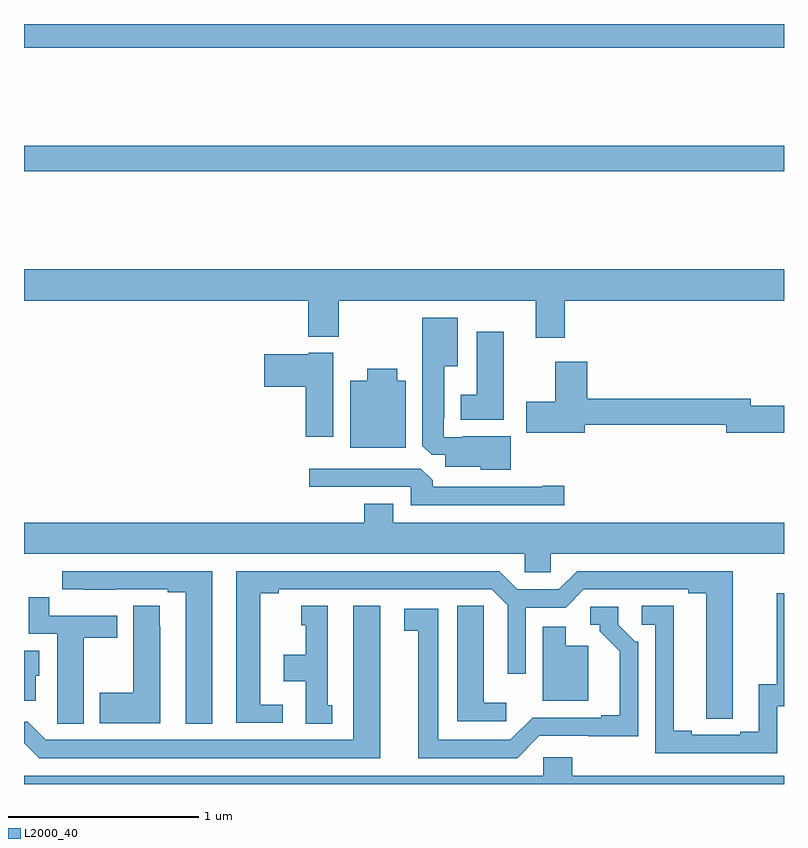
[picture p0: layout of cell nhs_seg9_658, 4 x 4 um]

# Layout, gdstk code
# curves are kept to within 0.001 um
import gdstk
lib = gdstk.Library(unit=1e-6, precision=1e-09)
def R(c, l, rs):  # rectangles x0, y0, x1, y1
    for r in rs: c.add(gdstk.rectangle(r[:2], r[2:], *l))
def P(c, l, *ps):  # polygons
    for p in ps: c.add(gdstk.Polygon(p, *l))
L2000_40 = (2000, 40)

nhs_seg9_658 = lib.new_cell('nhs_seg9_658')
R(nhs_seg9_658, L2000_40, [(143,1239.724,147,1239.86), (143,1240.376,147,1240.5)])
P(nhs_seg9_658, L2000_40, [(145.847,1239.044),(147,1239.044),(147,1239.208),(143,1239.208),(143,1239.044),(144.497,1239.044),(144.497,1238.855),(144.657,1238.855),(144.657,1239.044),(145.694,1239.044),(145.694,1238.85),(145.847,1238.85)],
  [(145.561,1238.329),(145.309,1238.329),(145.309,1238.325),(145.209,1238.325),(145.209,1238.425),(145.213,1238.425),(145.213,1238.699),(145.282,1238.699),(145.282,1238.953),(145.097,1238.953),(145.097,1238.281),(145.146,1238.232),(145.217,1238.232),(145.217,1238.171),(145.404,1238.171),(145.404,1238.153),(145.561,1238.153)],
  [(145.525,1238.881),(145.382,1238.881),(145.382,1238.548),(145.298,1238.548),(145.298,1238.417),(145.525,1238.417)],
  [(144.628,1238.77),(144.498,1238.77),(144.498,1238.761),(144.264,1238.761),(144.264,1238.591),(144.482,1238.591),(144.482,1238.328),(144.628,1238.328)],
  [(145.951,1238.392),(146.696,1238.392),(146.696,1238.35),(147,1238.35),(147,1238.492),(146.824,1238.492),(146.824,1238.528),(145.964,1238.528),(145.964,1238.722),(145.796,1238.722),(145.796,1238.511),(145.644,1238.511),(145.644,1238.348),(145.951,1238.348)],
  [(145.009,1238.623),(144.964,1238.623),(144.964,1238.686),(144.806,1238.686),(144.806,1238.623),(144.716,1238.623),(144.716,1238.27),(145.009,1238.27)],
  [(145.843,1238.069),(145.73,1238.069),(145.73,1238.064),(145.151,1238.064),(145.151,1238.098),(145.089,1238.16),(144.501,1238.16),(144.501,1238.064),(145.035,1238.064),(145.035,1237.968),(145.843,1237.968)],
  [(145.773,1237.712),(147,1237.712),(147,1237.876),(144.943,1237.876),(144.943,1237.975),(144.791,1237.975),(144.791,1237.876),(143,1237.876),(143,1237.712),(145.635,1237.712),(145.635,1237.614),(145.773,1237.614)],
  [(144.361,1236.918),(144.244,1236.918),(144.244,1237.504),(144.34,1237.504),(144.34,1237.524),(145.461,1237.524),(145.545,1237.44),(145.545,1237.08),(145.641,1237.08),(145.641,1237.428),(145.851,1237.428),(145.947,1237.524),(146.495,1237.524),(146.495,1237.504),(146.591,1237.504),(146.591,1236.844),(146.73,1236.844),(146.731,1237.62),(145.911,1237.62),(145.815,1237.524),(145.597,1237.524),(145.501,1237.62),(144.116,1237.62),(144.116,1236.822),(144.361,1236.822)],
  [(143.992,1237.62),(143.202,1237.62),(143.202,1237.524),(143.314,1237.524),(143.314,1237.523),(143.48,1237.523),(143.48,1237.524),(143.756,1237.524),(143.756,1237.509),(143.852,1237.509),(143.852,1236.817),(143.992,1236.817)],
  [(146.964,1236.909),(147,1236.909),(147,1237.503),(146.962,1237.503),(146.962,1237.025),(146.867,1237.025),(146.867,1236.774),(146.771,1236.774),(146.771,1236.759),(146.515,1236.759),(146.515,1236.779),(146.419,1236.779),(146.419,1237.439),(146.25,1237.439),(146.25,1237.338),(146.322,1237.338),(146.322,1236.663),(146.964,1236.663)],
  [(143.314,1237.27),(143.491,1237.27),(143.491,1237.386),(143.132,1237.386),(143.132,1237.483),(143.024,1237.483),(143.024,1237.29),(143.174,1237.29),(143.174,1236.928),(143.175,1236.928),(143.175,1236.817),(143.314,1236.817)],
  [(143.716,1237.331),(143.715,1237.331),(143.715,1237.439),(143.576,1237.439),(143.576,1236.981),(143.399,1236.981),(143.399,1236.821),(143.716,1236.821)],
  [(145.537,1236.928),(145.42,1236.928),(145.42,1237.331),(145.419,1237.331),(145.419,1237.439),(145.28,1237.439),(145.28,1236.831),(145.537,1236.831)],
  [(144.874,1237.438),(144.734,1237.438),(144.734,1236.732),(143.115,1236.732),(143.019,1236.828),(143,1236.828),(143,1236.715),(143.079,1236.636),(144.874,1236.636)],
  [(144.622,1236.915),(144.598,1236.915),(144.598,1237.438),(144.458,1237.438),(144.458,1237.335),(144.482,1237.335),(144.482,1237.18),(144.368,1237.18),(144.368,1237.04),(144.482,1237.04),(144.482,1236.817),(144.622,1236.817)],
  [(145.713,1236.753),(146.232,1236.752),(146.232,1237.248),(146.217,1237.248),(146.127,1237.338),(146.127,1237.434),(145.98,1237.434),(145.98,1237.338),(146.03,1237.338),(146.03,1237.303),(146.135,1237.198),(146.135,1236.862),(146.039,1236.862),(146.039,1236.849),(145.677,1236.849),(145.56,1236.732),(145.18,1236.732),(145.18,1237.422),(145.002,1237.422),(145.002,1237.306),(145.076,1237.306),(145.076,1236.636),(145.596,1236.636)],
  [(145.969,1237.228),(145.852,1237.228),(145.852,1237.327),(145.73,1237.327),(145.73,1236.938),(145.969,1236.938)],
  [(143.062,1237.071),(143.08,1237.071),(143.08,1237.201),(143,1237.201),(143,1236.938),(143.062,1236.938)],
  [(143,1236.5),(147,1236.5),(147,1236.544),(145.886,1236.544),(145.886,1236.642),(145.734,1236.642),(145.734,1236.544),(143,1236.544)])

lib.write_gds('nhs_seg9_658.gds')
